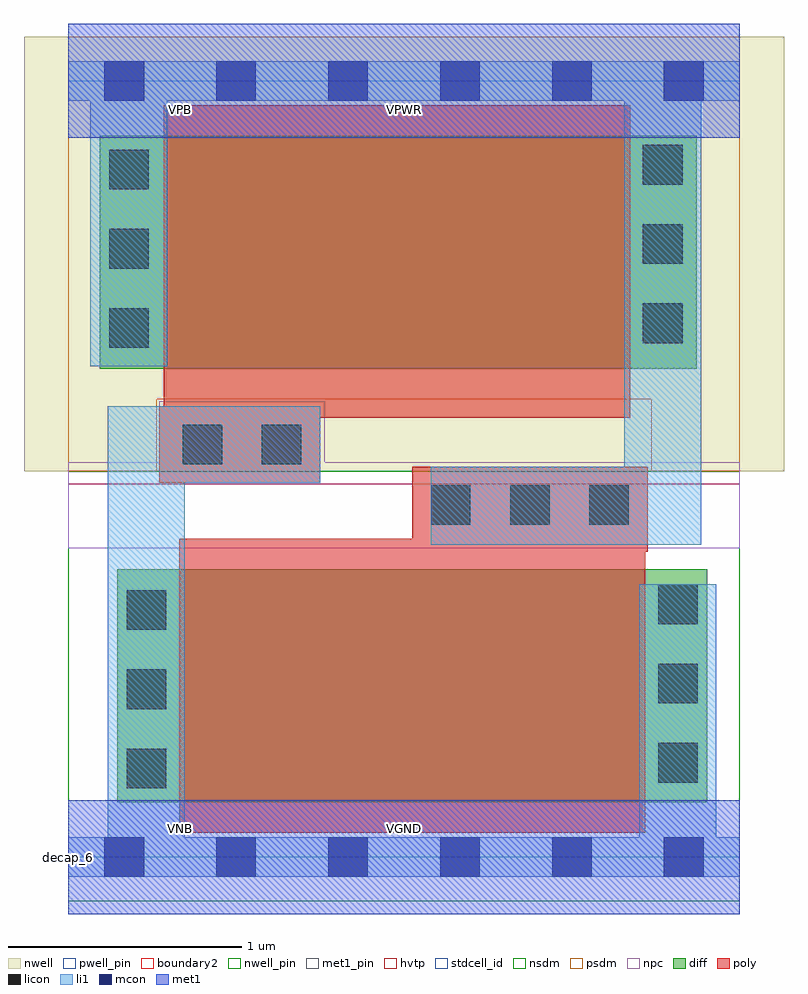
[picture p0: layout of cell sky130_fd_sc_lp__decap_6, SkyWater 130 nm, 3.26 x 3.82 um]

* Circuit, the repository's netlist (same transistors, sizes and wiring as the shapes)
* Copyright 2020 The SkyWater PDK Authors
*
* Licensed under the Apache License, Version 2.0 (the "License");
* you may not use this file except in compliance with the License.
* You may obtain a copy of the License at
*
*     https://www.apache.org/licenses/LICENSE-2.0
*
* Unless required by applicable law or agreed to in writing, software
* distributed under the License is distributed on an "AS IS" BASIS,
* WITHOUT WARRANTIES OR CONDITIONS OF ANY KIND, either express or implied.
* See the License for the specific language governing permissions and
* limitations under the License.
*
* SPDX-License-Identifier: Apache-2.0

.SUBCKT sky130_fd_sc_lp__decap_6 VGND VNB VPB VPWR
*.PININFO VGND:I VNB:I VPB:I VPWR:I
MI1 VGND VPWR VGND VNB sky130_fd_pr__nfet_01v8 m=1 w=1.0U l=2.0U mult=1 sa=0.265
+ sb=0.265 sd=0.28 area=0.063 perim=1.14
MI2 VPWR VGND VPWR VPB sky130_fd_pr__pfet_01v8_hvt m=1 w=1.0U l=2.0U mult=1 sa=0.265
+ sb=0.265 sd=0.28 area=0.063 perim=1.14
.ENDS sky130_fd_sc_lp__decap_6

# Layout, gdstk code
import gdstk
lib = gdstk.Library(unit=1e-6, precision=1e-09)
def R(c, l, rs):  # rectangles x0, y0, x1, y1
    for r in rs: c.add(gdstk.rectangle(r[:2], r[2:], *l))
def A(c, l, x, y, w, h, nx, ny, dx, dy):  # array of equal rectangles
    R(c, l, [(x+i*dx, y+j*dy, x+i*dx+w, y+j*dy+h) for i in range(nx) for j in range(ny)])
def P(c, l, *ps):  # polygons
    for p in ps: c.add(gdstk.Polygon(p, *l))
nwell_pin = (64, 16)
nwell = (64, 20)
diff = (65, 20)
poly = (66, 20)
licon = (66, 44)
li1 = (67, 20)
mcon = (67, 44)
met1_pin = (68, 16)
met1 = (68, 20)
hvtp = (78, 44)
stdcell_id = (81, 4)
nsdm = (93, 44)
psdm = (94, 20)
npc = (95, 20)
pwell_pin = (122, 16)
boundary2 = (236, 0)

sky130_fd_sc_lp__decap_6 = lib.new_cell('sky130_fd_sc_lp__decap_6')
R(sky130_fd_sc_lp__decap_6, nwell_pin, [(0,3.085,2.88,3.33)])
R(sky130_fd_sc_lp__decap_6, nwell, [(-0.19,1.655,3.07,3.52)])
R(sky130_fd_sc_lp__decap_6, diff, [(0.21,0.235,2.74,1.235), (0.135,2.095,2.695,3.095)])
P(sky130_fd_sc_lp__decap_6, poly, [(2.485,1.675),(1.475,1.675),(1.475,1.365),(0.475,1.365),(0.475,0.105),(2.475,0.105),(2.475,1.31),(2.485,1.31)],
  [(2.41,3.225),(0.41,3.225),(0.41,1.935),(0.39,1.935),(0.39,1.605),(1.08,1.605),(1.08,1.885),(2.41,1.885)])
A(sky130_fd_sc_lp__decap_6, licon, 0.25, 0.295, 0.17, 0.17, 1, 3, 0, 0.34)
A(sky130_fd_sc_lp__decap_6, licon, 2.53, 0.32, 0.17, 0.17, 1, 3, 0, 0.34)
A(sky130_fd_sc_lp__decap_6, licon, 1.555, 1.425, 0.17, 0.17, 3, 1, 0.34, 0)
A(sky130_fd_sc_lp__decap_6, licon, 0.175, 2.185, 0.17, 0.17, 1, 3, 0, 0.34)
A(sky130_fd_sc_lp__decap_6, licon, 2.465, 2.205, 0.17, 0.17, 1, 3, 0, 0.34)
R(sky130_fd_sc_lp__decap_6, licon, [(0.49,1.685,0.66,1.855), (0.83,1.685,1,1.855)])
R(sky130_fd_sc_lp__decap_6, li1, [(2.45,0.055,2.78,1.17)])
P(sky130_fd_sc_lp__decap_6, li1, [(0.095,2.105),(0.095,3.245),(0,3.245),(0,3.415),(2.88,3.415),(2.88,3.245),(0.425,3.245),(0.425,2.105)],
  [(2.88,0.085),(0.5,0.085),(0.5,1.605),(1.08,1.605),(1.08,1.935),(0.17,1.935),(0.17,0.085),(0,0.085),(0,-0.085),(2.88,-0.085)],
  [(2.715,3.32),(2.385,3.32),(2.385,1.675),(1.555,1.675),(1.555,1.34),(2.715,1.34)])
A(sky130_fd_sc_lp__decap_6, mcon, 0.155, -0.085, 0.17, 0.17, 6, 2, 0.48, 3.33)
R(sky130_fd_sc_lp__decap_6, met1_pin, [(0,0,2.88,0.245), (0,3.085,2.88,3.33)])
R(sky130_fd_sc_lp__decap_6, met1, [(0,-0.245,2.88,0.245), (0,3.085,2.88,3.575)])
R(sky130_fd_sc_lp__decap_6, hvtp, [(0,1.6,2.88,3.33)])
R(sky130_fd_sc_lp__decap_6, stdcell_id, [(0,0,2.88,3.33)])
R(sky130_fd_sc_lp__decap_6, nsdm, [(0,-0.19,2.88,1.655)])
P(sky130_fd_sc_lp__decap_6, psdm, [(2.88,3.52),(0,3.52),(0,1.655),(0.38,1.655),(0.38,1.965),(2.5,1.965),(2.5,1.655),(2.88,1.655)])
P(sky130_fd_sc_lp__decap_6, npc, [(2.88,1.695),(1.1,1.695),(1.1,1.955),(0.39,1.955),(0.39,1.695),(0,1.695),(0,1.325),(2.88,1.325)])
R(sky130_fd_sc_lp__decap_6, pwell_pin, [(0,0,2.88,0.245)])
R(sky130_fd_sc_lp__decap_6, boundary2, [(0,0,2.88,3.33)])
sky130_fd_sc_lp__decap_6.add(gdstk.Label('VNB', (0.48,0.123), layer=64, texttype=59))
sky130_fd_sc_lp__decap_6.add(gdstk.Label('VPB', (0.48,3.208), layer=64, texttype=5))
sky130_fd_sc_lp__decap_6.add(gdstk.Label('decap_6', (0,0), layer=83, texttype=44))
sky130_fd_sc_lp__decap_6.add(gdstk.Label('VGND', (1.44,0.123), layer=68, texttype=5))
sky130_fd_sc_lp__decap_6.add(gdstk.Label('VPWR', (1.44,3.208), layer=68, texttype=5))

lib.write_gds('sky130_fd_sc_lp__decap_6.gds')
